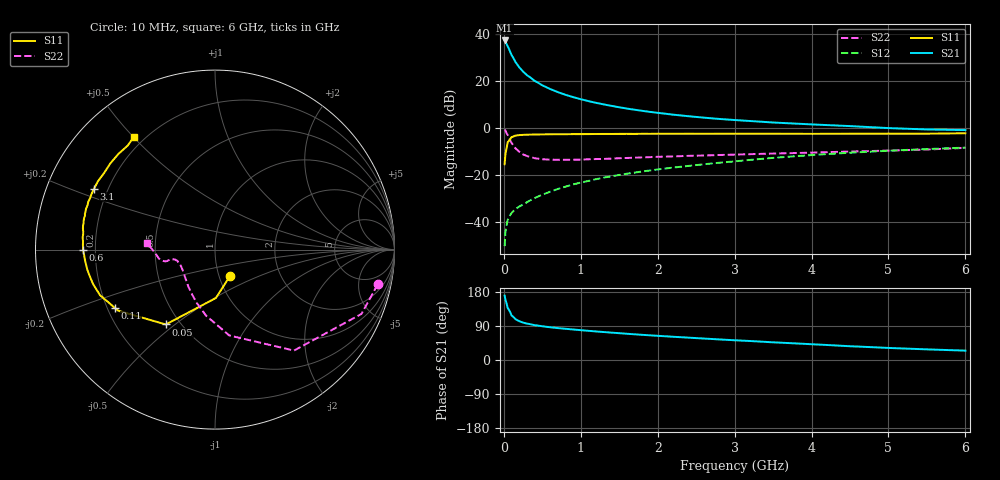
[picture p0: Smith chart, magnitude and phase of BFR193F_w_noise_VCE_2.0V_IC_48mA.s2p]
! Infineon Technologies  Discrete & RF Semiconductors
! BFR193F
! VCE =  2.0 V,  IC =  48 mA
! Common Emitter S-Parameters:  Jan 2017
# GHz  S  MA  R  50
!  f  S11  S21  S12  S22
! GHz  MAG  ANG  MAG  ANG  MAG  ANG  MAG  ANG
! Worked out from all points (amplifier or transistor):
!   77 points, 10 MHz to 6 GHz, reference 50 ohm
!   highest |S21| = 37.1 dB at 10 MHz (marker M1)
!   |S21| within 3 dB of that: start of sweep to 58 MHz
!   unconditionally stable (mu >= 1): 744.5 MHz to 2.675 GHz
!   at 130 MHz: K = 0.52, MSG = 32.2 dB, |S12| = -35.1 dB
!   at 2.2 GHz: K = 1.02, MAG = 10.4 dB, |S12| = -16.8 dB
!   at 6 GHz: K = 0.89, MSG = 3.7 dB, |S12| = -8.3 dB
!   lowest NFmin = 1.45 dB at 450 MHz
!   S11 on the Smith chart (normalised r, x): 10 MHz: 1.12, -0.34; 50 MHz: 0.42, -0.46; 110 MHz: 0.23, -0.26; 600 MHz: 0.15, -0.00; 3.1 GHz: 0.15, +0.23; 6 GHz: 0.16, +0.50
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0.01  0.1698 -60.9  72 169.9  0.0031 84.7  0.9271 -12.1
0.02  0.2696 -88.9  68.99 159.7  0.0059 75.7  0.8914 -23.7
0.05  0.499 -123.3  54.33 137.1  0.0112 60.6  0.7141 -52.0
0.1  0.6375 -147.7  35.34 117.3  0.0157 51.5  0.4847 -80.6
0.11  0.6459 -149.9  33.27 115.9  0.0163 51.4  0.4594 -83.3
0.15  0.6889 -158.3  25.29 108.0  0.0189 51.0  0.372 -97.6
0.2  0.7059 -164.2  19.45 102.4  0.0215 54.3  0.3131 -109.1
0.25  0.7141 -168.4  15.72 98.7  0.0237 56.6  0.2752 -118.7
0.3  0.7201 -171.0  13.23 96.0  0.0265 59.1  0.2544 -125.7
0.4  0.7265 -175.2  10 91.9  0.0325 63.5  0.2287 -136.3
0.5  0.7302 -177.8  8.04 89.0  0.0383 66.5  0.2172 -143.5
0.6  0.7349 -180.0  6.736 86.5  0.0443 68.4  0.2124 -149.0
0.7  0.7366 177.8  5.783 84.2  0.0506 69.8  0.2113 -152.7
0.8  0.7365 176.5  5.063 82.4  0.0567 71.1  0.2111 -156.1
0.9  0.7406 174.8  4.519 80.5  0.0634 71.7  0.2117 -158.5
1.1  0.7414 172.1  3.713 77.0  0.0752 72.1  0.2166 -161.5
1.5  0.7492 167.6  2.751 70.8  0.1006 73.2  0.2282 -165.6
2.1  0.7528 161.7  2.006 62.6  0.1379 72.6  0.2467 -167.3
3.1  0.7542 153.2  1.439 51.1  0.2027 70.0  0.275 -166.6
4.1  0.7514 144.3  1.171 40.6  0.2723 65.1  0.3028 -168.7
5.1  0.7567 134.3  0.981 31.1  0.3342 58.9  0.3347 -176.8
6  0.7728 125.9  0.902 24.7  0.3833 53.4  0.3783 174.8
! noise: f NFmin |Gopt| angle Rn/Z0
0.45  1.45  0.46  -180  0.07
0.9  1.54  0.47  -179  0.07
1.9  2.11  0.6  -164  0.09
2.4  2.42  0.62  -156  0.14
